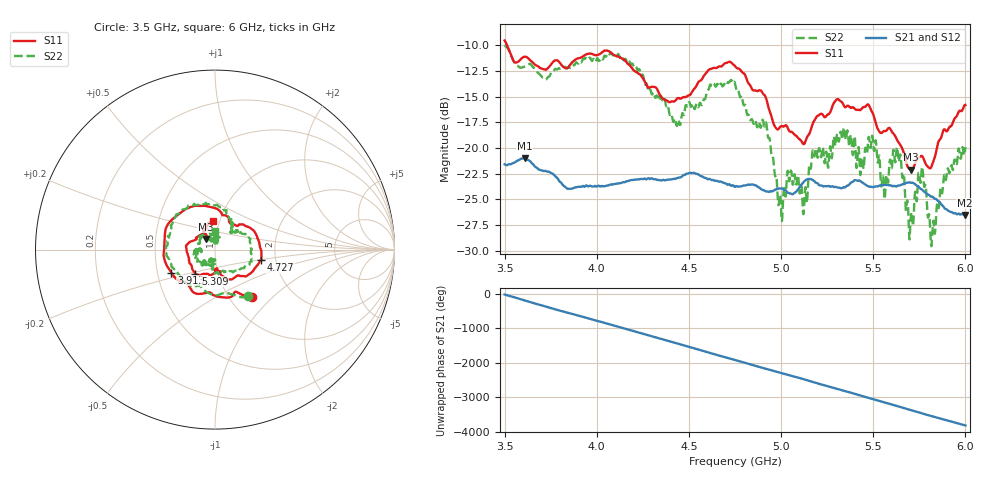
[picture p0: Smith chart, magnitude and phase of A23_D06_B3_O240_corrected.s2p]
! Created with skrf 1.9.0 (http://scikit-rf.org).
# Hz S RI R 50.0
!freq ReS11 ImS11 ReS21 ImS21 ReS12 ImS12 ReS22 ImS22
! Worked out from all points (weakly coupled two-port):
!   1601 points, 3.5 GHz to 6 GHz, reference 50 ohm
!   highest |S21| = -20.99 dB at 3.609 GHz (marker M1); lowest = -26.5 dB at 5.995 GHz (marker M2)
!   lowest |S11| = -22.1 dB at 5.706 GHz (marker M3), VSWR 1.17, Z = 44.7 + j5.27 ohm
!   |S11| at or under -10 dB: 3.514 GHz to end of sweep
!   |S22| runs from -29.6 to -10.0 dB; largest |S21 - S12| = 0.00097
!   S11 on the Smith chart (normalised r, x): 3.5 GHz: 1.27, -0.75; 3.913 GHz: 0.59, -0.16; 4.727 GHz: 1.67, -0.20; 5.309 GHz: 0.78, -0.21; 6 GHz: 0.93, +0.31
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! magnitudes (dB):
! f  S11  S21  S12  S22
! 3.5 GHz  -9.5  -21.6  -21.6  -10.0
! 3.609 GHz  -11.1  -21.0  -21.0  -12.1
! 3.913 GHz  -11.2  -23.8  -23.7  -11.6
! 3.917 GHz  -11.2  -23.8  -23.7  -11.6
! 4.334 GHz  -14.5  -23.1  -23.1  -15.3
! 4.442 GHz  -15.1  -22.9  -22.9  -17.3
! 4.727 GHz  -11.6  -23.7  -23.5  -13.4
! 4.75 GHz  -12.0  -23.8  -23.7  -13.7
! 4.912 GHz  -14.9  -24.2  -24.1  -17.8
! 4.995 GHz  -17.9  -24.0  -23.9  -24.6
! 5.045 GHz  -18.4  -24.4  -24.4  -23.2
! 5.13 GHz  -19.5  -23.2  -23.2  -24.2
! 5.167 GHz  -17.8  -23.1  -23.0  -20.8
! 5.309 GHz  -15.2  -23.9  -23.8  -19.0
! 5.584 GHz  -18.1  -23.6  -23.6  -22.5
! 5.639 GHz  -19.5  -23.7  -23.6  -21.3
! 5.706 GHz  -22.1  -23.4  -23.3  -26.3
! 5.758 GHz  -20.8  -24.0  -23.9  -23.3
! 5.823 GHz  -21.4  -24.8  -24.7  -27.6
! 5.894 GHz  -18.3  -25.9  -25.9  -23.1
! 5.995 GHz  -15.8  -26.5  -26.4  -20.6
! 6 GHz  -15.8  -26.5  -26.4  -19.9
